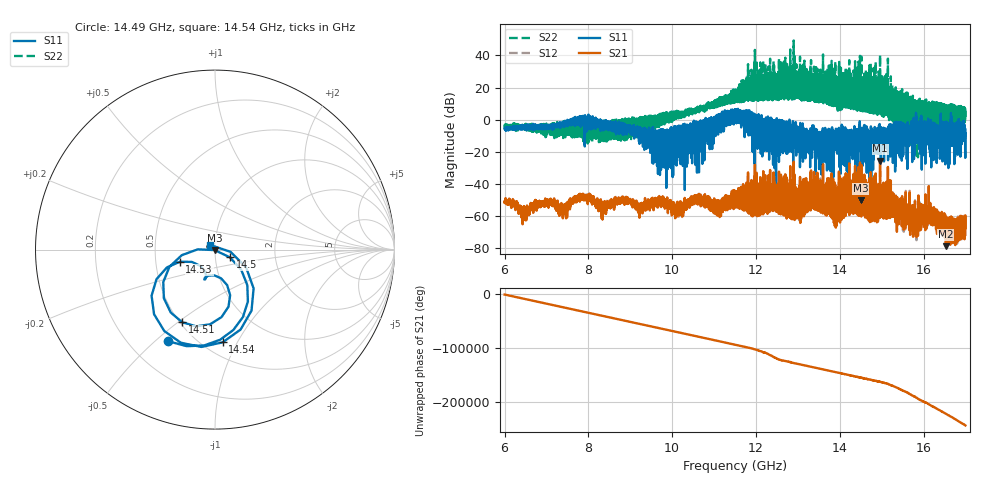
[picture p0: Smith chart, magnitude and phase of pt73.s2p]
#  HZ  S  RI  R  50.00
! Rohde & Schwarz Vector Network Analyzer
! Rohde-Schwarz,ZNA67-2Port,1332450062101215,3.01
! Created: UTC 10/16/2026, 2:18:02 PM
! freq[Hz]  re:S11  im:S11  re:S21  im:S21  re:S12  im:S12  re:S22  im:S22
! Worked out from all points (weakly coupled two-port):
!   11001 points, 6 GHz to 17 GHz, reference 50 ohm
!   highest |S21| = -25.54 dB at 14.96 GHz (marker M1); lowest = -78.7 dB at 16.54 GHz (marker M2)
!   lowest |S11| = -50.0 dB at 14.5 GHz (marker M3), VSWR 1.01, Z = 49.9 - j0.284 ohm
!   |S11| at or under -10 dB: 13.52807 GHz to 13.56839 GHz (40.31 MHz wide, 0.298 % of centre); 13.6119 GHz to 13.64772 GHz (35.82 MHz wide, 0.263 % of centre); 13.93455 GHz to 13.96267 GHz (28.11 MHz wide, 0.202 % of centre) (the widest 3 of 482)
!   |S22| runs from -23.4 to 49.3 dB; largest |S21 - S12| = 0.0086
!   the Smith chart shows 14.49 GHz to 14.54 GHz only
!   S11 on the Smith chart (normalised r, x): 14.49 GHz: 0.36, -0.55; 14.5 GHz: 1.18, -0.10; 14.51 GHz: 0.51, -0.52; 14.53 GHz: 0.67, -0.09; 14.54 GHz: 0.62, -0.87; 14.54 GHz: 0.95, +0.05
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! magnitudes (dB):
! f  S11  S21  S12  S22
! 6 GHz  -5.7  -51.2  -51.2  -5.1
! 6.469 GHz  -4.3  -54.9  -54.9  -3.9
! 7.056 GHz  -3.3  -52.1  -51.9  -4.9
! 7.436 GHz  -3.6  -55.3  -55.0  -5.9
! 7.834 GHz  -1.0  -48.1  -48.0  -2.9
! 8.365 GHz  -2.3  -52.3  -52.3  -7.8
! 9.667 GHz  -7.0  -52.7  -53.0  2.4
! 10.11 GHz  -7.7  -54.8  -54.8  5.5
! 11.5 GHz  6.5  -52.0  -52.0  12.2
! 13.33 GHz  -9.6  -51.9  -52.0  15.2
! 13.9 GHz  -13.4  -58.7  -58.5  10.3
! 14.49 GHz  -4.8  -55.3  -55.1  8.9
! 14.5 GHz  -20.6  -56.9  -56.8  5.6
! 14.5 GHz  -50.0  -57.4  -57.2  5.6
! 14.51 GHz  -7.0  -55.1  -55.5  7.8
! 14.53 GHz  -13.7  -58.2  -58.1  6.7
! 14.54 GHz  -5.7  -51.0  -51.1  12.8
! 14.54 GHz  -28.8  -46.0  -45.7  21.4
! 14.96 GHz  -20.4  -25.5  -25.8  40.3
! 15.17 GHz  -14.4  -55.6  -55.3  3.6
! 16.54 GHz  -9.1  -78.7  -76.3  -3.0
! 17 GHz  -6.1  -67.5  -67.5  1.4
